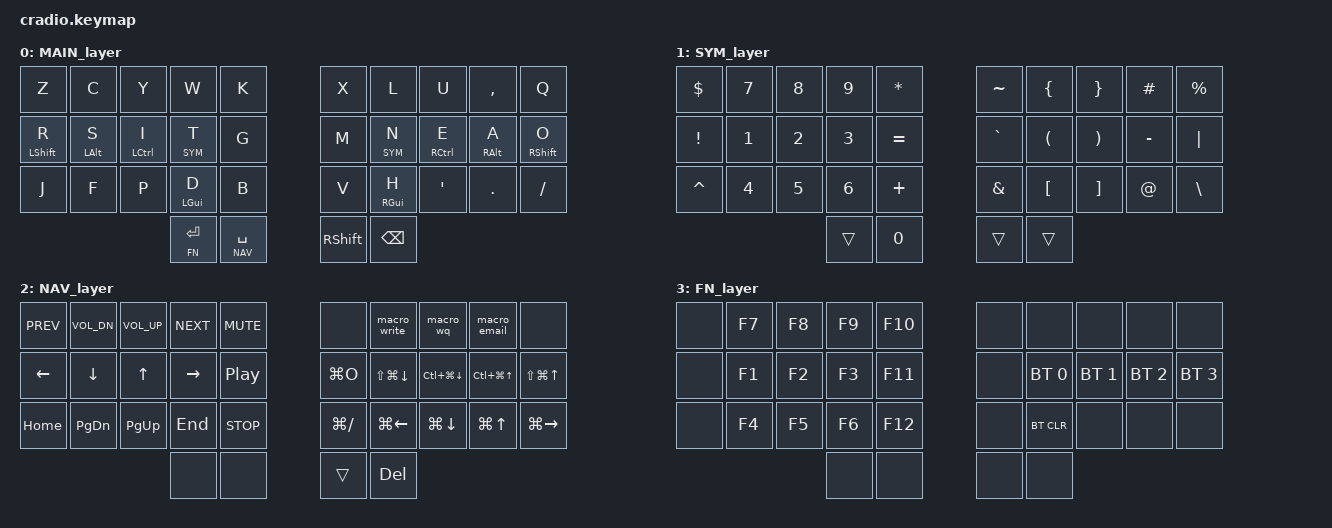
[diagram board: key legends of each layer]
/*
* Copyright (c) 2020 The ZMK Contributors
*
* SPDX-License-Identifier: MIT
*/

#include <behaviors.dtsi>
#include <dt-bindings/zmk/keys.h>
#include <dt-bindings/zmk/bt.h>

#define MAIN 0
#define SYM 1
#define NAV 2
#define FN 3

&mt {
    flavor = "tap-preferred";
    tapping_term_ms = <140>;
};

/ {
    behaviors {
        macro_email: macro_email {
            compatible = "zmk,behavior-macro";
            label = "MACRO_EMAIL";
            #binding-cells = <0>;
            bindings = <&kp S>, <&kp A>, <&kp M>, <&kp AT>, <&kp M>, <&kp O>, <&kp H>, <&kp R>, <&kp DOT>, <&kp C>, <&kp O>, <&kp D>, <&kp E>, <&kp S>;
        };

        macro_write: macro_write {
            compatible = "zmk,behavior-macro";
            label = "MACRO_WRITE";
            #binding-cells = <0>;
            bindings = <&kp COLON>, <&kp W>, <&kp ENTER>;
        };

        macro_wq: macro_wq {
            compatible = "zmk,behavior-macro";
            label = "MACRO_WRITE_QUIT";
            #binding-cells = <0>;
            bindings = <&kp COLON>, <&kp W>, <&kp Q>, <&kp ENTER>;
        };
    };

    combos {
        compatible = "zmk,combos";

        combo_esc {
            timeout-ms = <50>;
            key-positions = <21 22>;
            bindings = <&kp ESC>;
            layers = <0>;
        };

        combo_tab {
            timeout-ms = <50>;
            key-positions = <3 13>;
            bindings = <&kp TAB>;
            layers = <0>;
        };

        combo_minus {
            timeout-ms = <50>;
            key-positions = <6 16>;
            bindings = <&kp MINUS>;
            layers = <0>;
        };

        combo_colon {
            timeout-ms = <50>;
            key-positions = <1 2>;
            bindings = <&kp COLON>;
            layers = <0>;
        };

        combo_semicolon {
            timeout-ms = <50>;
            key-positions = <1 3>;
            bindings = <&kp SEMICOLON>;
            layers = <0>;
        };
    };

    keymap {
        compatible = "zmk,keymap";

        MAIN_layer {
            bindings = <
                &kp Z       &kp C      &kp Y       &kp W        &kp K          &kp X     &kp L      &kp U       &kp CMMA   &kp Q 
                &mt LSHFT R &mt LALT S &mt LCTRL I &lt SYM T    &kp G          &kp M     &lt SYM N  &mt RCTRL E &mt RALT A &mt RSHFT O
                &kp J       &kp F      &kp P       &mt LGUI D   &kp B          &kp V     &mt RGUI H &kp APOS    &kp DOT    &kp FSLH
                                                   &lt FN ENTER &lt NAV SPC    &kp RSHFT &kp BKSP 
            >;
        };

        SYM_layer {
            bindings = <
                &kp DLLR  &kp N7 &kp N8 &kp N9 &kp STAR     &kp TILDE &kp LBRC &kp RBRC &kp HASH  &kp PRCNT 
                &kp EXCL  &kp N1 &kp N2 &kp N3 &kp EQUAL    &kp GRAVE &kp LPAR &kp RPAR &kp MINUS &kp PIPE
                &kp CARET &kp N4 &kp N5 &kp N6 &kp PLUS     &kp AMPS  &kp LBKT &kp RBKT &kp AT    &kp BSLH
                                        &trans &kp N0       &trans    &trans 
            >;
        };

        NAV_layer {
            bindings = <
                &kp C_PREV &kp C_VOL_DN &kp C_VOL_UP &kp C_NEXT &kp C_MUTE    &none        &macro_write     &macro_wq        &macro_email   &none
                &kp LEFT   &kp DOWN     &kp UP       &kp RIGHT  &kp C_PP      &kp LG(O)    &kp LS(LG(DOWN)) &kp LC(LG(DOWN)) &kp LC(LG(UP)) &kp LS(LG(UP))
                &kp HOME   &kp PG_DN    &kp PG_UP    &kp END    &kp C_STOP    &kp LG(FSLH) &kp LG(LEFT)     &kp LG(DOWN)     &kp LG(UP)     &kp LG(RIGHT)
                                                     &none      &none         &trans       &kp DEL
            >;
        };	

        FN_layer {
            bindings = <
                &none &kp F7 &kp F8 &kp F9 &kp F10    &none &none        &none        &none        &none
                &none &kp F1 &kp F2 &kp F3 &kp F11    &none &bt BT_SEL 0 &bt BT_SEL 1 &bt BT_SEL 2 &bt BT_SEL 3 
                &none &kp F4 &kp F5 &kp F6 &kp F12    &none &bt BT_CLR   &none        &none        &none   
                                    &none  &none      &none &none
            >;
        };	
    };
};
